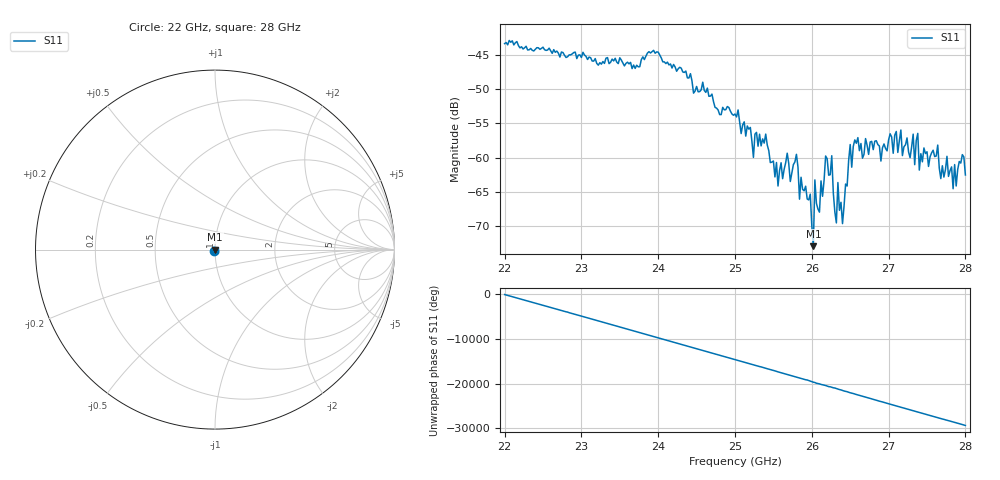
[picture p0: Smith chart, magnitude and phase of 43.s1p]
#  HZ  S  RI  R  50.00
! Rohde & Schwarz ZVA40 4Ports - Version 3.90 - 1145.1110k42 SN: 100403
! Date: 2023-10-04 08:48:06
! Measurement: S12
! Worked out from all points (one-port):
!   301 points, 22 GHz to 28 GHz, reference 50 ohm
!   lowest |S11| = -72.9 dB at 26.02 GHz (marker M1), VSWR 1.00, Z = 50 + j0.0221 ohm
!   |S11| at or under -10 dB: start of sweep to end of sweep
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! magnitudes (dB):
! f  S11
! 22 GHz  -43.4
! 22.76 GHz  -44.7
! 23.5 GHz  -45.5
! 24.26 GHz  -47.1
! 25 GHz  -53.6
! 25.2 GHz  -55.6
! 25.24 GHz  -60.0
! 25.4 GHz  -56.6
! 25.56 GHz  -64.1
! 25.76 GHz  -61.0
! 25.8 GHz  -59.5
! 25.84 GHz  -66.1
! 25.98 GHz  -65.3
! 26.02 GHz  -72.9
! 26.04 GHz  -63.2
! 26.1 GHz  -67.9
! 26.18 GHz  -59.8
! 26.26 GHz  -59.7
! 26.32 GHz  -69.5
! 26.34 GHz  -63.6
! 26.4 GHz  -69.6
! 26.5 GHz  -58.1
! 26.52 GHz  -61.4
! 26.6 GHz  -57.1
! 27.26 GHz  -59.2
! 27.38 GHz  -56.5
! 27.4 GHz  -61.8
! 28 GHz  -62.5
